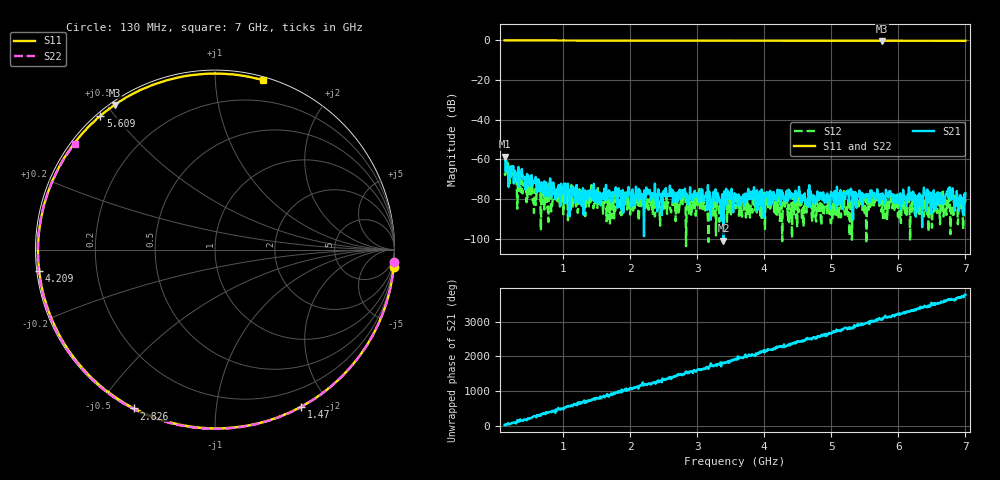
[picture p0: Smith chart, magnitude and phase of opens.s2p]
# Hz S RI R 50.000000
! Metas.Vna.Tools, 2.8.8664.20301
! Metas.Vna.Data, 2.8.8664.20285
! Created: UTC 2024.02.11 10:08:07
! FREQ  re:S1,1  im:S1,1  re:S2,1  im:S2,1  re:S1,2  im:S1,2  re:S2,2  im:S2,2
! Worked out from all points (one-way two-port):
!   801 points, 130 MHz to 7 GHz, reference 50 ohm
!   highest |S21| = -58.60 dB at 130 MHz (marker M1); lowest = -101.1 dB at 3.393 GHz (marker M2)
!   lowest |S11| = -0.2 dB at 5.755 GHz (marker M3), VSWR 96.62, Z = 0.66 + j26.2 ohm
!   |S11| at or under -10 dB: nowhere
!   |S22| runs from -0.2 to 0.0 dB; largest |S21 - S12| = 0.00086
!   S11 on the Smith chart (normalised r, x): 130 MHz: -0, -21; 1.47 GHz: 0.00, -1.69; 2.826 GHz: 0.00, -0.61; 4.209 GHz: 0.01, -0.06; 5.609 GHz: 0.01, +0.46; 7 GHz: 0.03, +1.32
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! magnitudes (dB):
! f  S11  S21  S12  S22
! 130 MHz  0.0  -58.6  -67.0  0.0
! 181.5 MHz  0.0  -64.4  -62.0  0.0
! 267.4 MHz  0.0  -72.2  -66.7  0.0
! 353.3 MHz  0.0  -66.8  -65.6  0.0
! 516.4 MHz  0.0  -70.5  -78.9  0.0
! 568 MHz  0.0  -71.7  -87.0  0.0
! 645.2 MHz  0.0  -76.2  -72.7  0.0
! 748.3 MHz  0.0  -71.6  -76.1  0.0
! 1.032 GHz  0.0  -72.1  -75.8  0.0
! 1.281 GHz  0.0  -83.5  -78.9  0.0
! 1.47 GHz  0.0  -81.2  -79.0  0.0
! 2.423 GHz  0.0  -75.1  -81.6  0.0
! 2.826 GHz  -0.1  -77.9  -79.5  0.0
! 3.393 GHz  -0.1  -101.1  -82.6  0.0
! 3.565 GHz  -0.1  -77.4  -77.8  0.0
! 4.209 GHz  -0.1  -78.4  -83.4  0.0
! 4.716 GHz  -0.1  -80.2  -91.0  0.0
! 5.609 GHz  -0.2  -77.2  -81.3  -0.1
! 5.755 GHz  -0.2  -79.9  -86.4  -0.1
! 5.858 GHz  -0.2  -77.0  -85.7  -0.1
! 5.987 GHz  -0.2  -81.8  -77.7  -0.1
! 7 GHz  -0.2  -77.0  -80.4  -0.2
